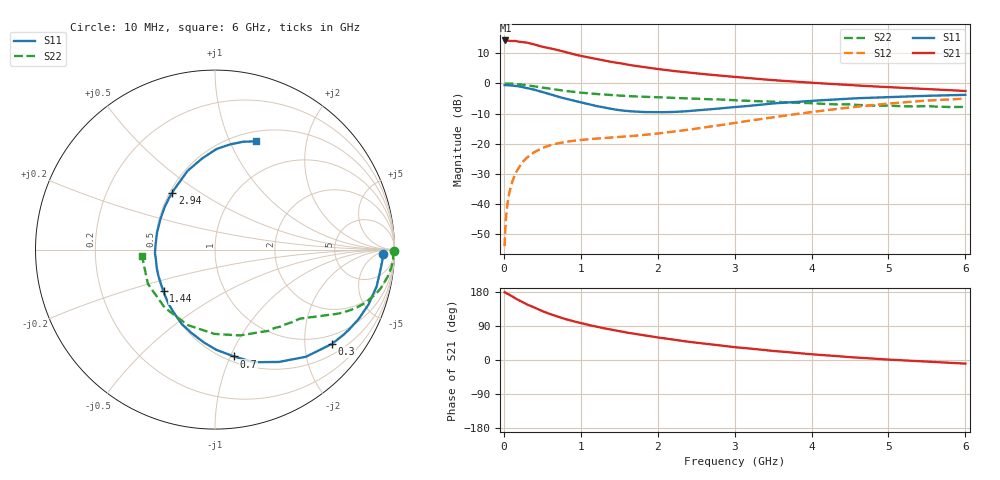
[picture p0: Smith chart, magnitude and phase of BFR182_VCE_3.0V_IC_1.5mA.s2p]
! Infineon Technologies  Discrete & RF Semiconductors
! BFR182
! VCE =  3.0 V,  IC =  1.5 mA
! Common Emitter S-Parameters:  Nov 2015
# GHz  S  MA  R  50
!  f  S11  S21  S12  S22
! GHz  MAG  ANG  MAG  ANG  MAG  ANG  MAG  ANG
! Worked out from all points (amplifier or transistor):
!   210 points, 10 MHz to 6 GHz, reference 50 ohm
!   highest |S21| = 14.2 dB at 20 MHz (marker M1)
!   |S21| within 3 dB of that: start of sweep to 671.5 MHz
!   unconditionally stable (mu >= 1): 1.591 GHz to 3.183 GHz
!   at 185 MHz: K = 0.15, MSG = 21.1 dB, |S12| = -28.4 dB
!   at 1.52 GHz: K = 0.97, MSG = 12.2 dB, |S12| = -17.8 dB
!   at 6 GHz: K = 0.91, MSG = 1.3 dB, |S12| = -5.1 dB
!   S11 on the Smith chart (normalised r, x): 10 MHz: 26, -10; 300 MHz: 0.75, -2.65; 700 MHz: 0.55, -1.03; 1.44 GHz: 0.51, -0.27; 2.94 GHz: 0.52, +0.39; 6 GHz: 0.61, +1.25
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0.01  0.9351 -1.4  5.047 179.1  0.002 84.9  0.9978 -0.5
0.02  0.9364 -2.8  5.138 177.6  0.0042 85.9  0.9916 -1.1
0.05  0.9292 -6.7  5.099 174.5  0.0107 85.5  0.994 -2.8
0.1  0.9237 -12.8  5.025 169.2  0.0214 81.2  0.9889 -5.4
0.15  0.9083 -19.7  5.048 162.5  0.0317 77.8  0.9773 -8.3
0.3  0.8375 -38.8  4.732 146.7  0.0586 67.9  0.9297 -15.3
0.4  0.783 -49.7  4.402 138.1  0.0728 62.1  0.891 -19.3
0.5  0.7205 -60.3  4.044 128.9  0.0846 57.6  0.852 -22.3
0.6  0.6638 -71.0  3.822 121.3  0.0941 53.5  0.8141 -24.9
0.7  0.6048 -79.9  3.571 114.4  0.1011 50.5  0.7779 -27.2
0.9  0.5218 -96.7  3.043 102.4  0.1116 46.3  0.7228 -30.3
1.02  0.4763 -107.3  2.821 96.5  0.1158 44.8  0.6979 -31.9
1.2  0.4214 -122.4  2.535 88.0  0.1213 43.7  0.6676 -34.2
1.44  0.3692 -141.0  2.226 78.4  0.1272 44.4  0.6346 -36.8
1.6  0.3483 -154.4  2.052 72.3  0.1315 45.5  0.6167 -38.4
2.02  0.3323 175.3  1.717 59.0  0.1483 49.5  0.5878 -43.6
2.4  0.3471 151.7  1.513 48.1  0.1697 53.3  0.5641 -49.5
2.94  0.397 126.8  1.299 35.4  0.2143 55.8  0.5302 -59.5
3.1  0.4136 121.1  1.248 32.1  0.2306 55.6  0.5181 -63.3
4.1  0.5217 96.1  1.005 13.7  0.3467 49.9  0.4609 -94.1
5.1  0.5981 80.3  0.853 0.1  0.4725 36.7  0.4213 -135.2
6  0.6446 69.4  0.747 -9.5  0.5587 21.6  0.408 -174.7
